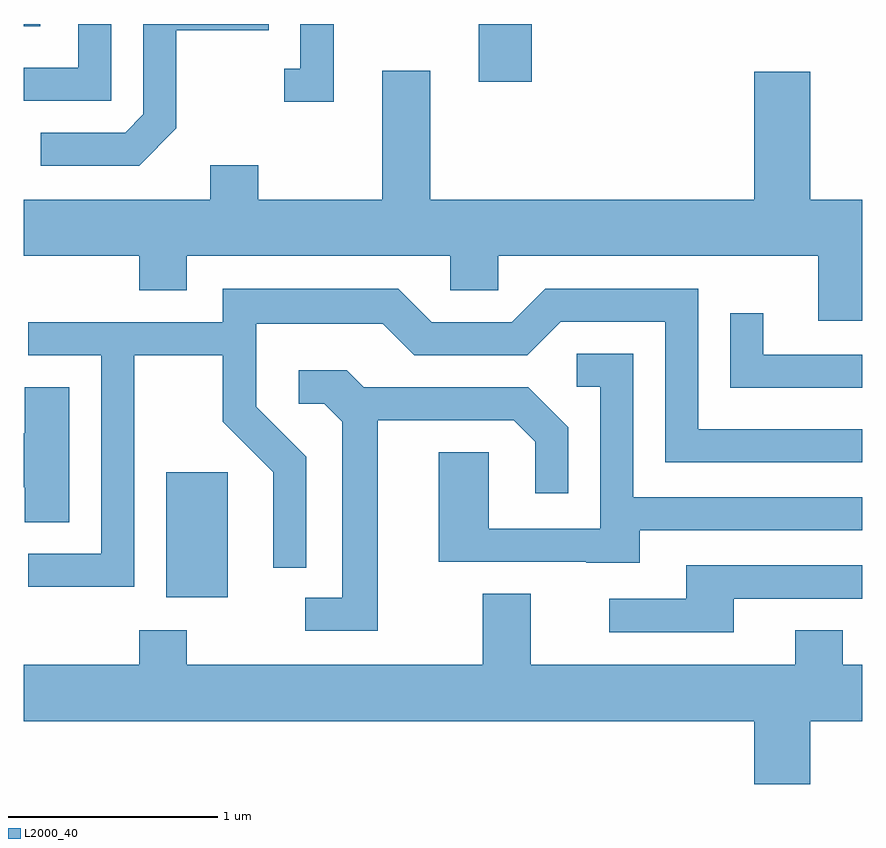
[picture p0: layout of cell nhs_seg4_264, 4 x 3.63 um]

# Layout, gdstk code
import gdstk
lib = gdstk.Library(unit=1e-6, precision=1e-09)
def R(c, l, rs):  # rectangles x0, y0, x1, y1
    for r in rs: c.add(gdstk.rectangle(r[:2], r[2:], *l))
def P(c, l, *ps):  # polygons
    for p in ps: c.add(gdstk.Polygon(p, *l))
L2000_40 = (2000, 40)

nhs_seg4_264 = lib.new_cell('nhs_seg4_264')
R(nhs_seg4_264, L2000_40, [(192.291,1375.246,192.584,1375.844), (193.781,1377.706,194.034,1377.982), (191.611,1377.971,191.689,1377.982)])
P(nhs_seg4_264, L2000_40, [(192.339,1377.484),(192.339,1377.951),(192.779,1377.951),(192.779,1377.982),(192.181,1377.982),(192.181,1377.552),(192.094,1377.464),(191.693,1377.464),(191.693,1377.306),(192.162,1377.306)],
  [(192.029,1377.982),(191.871,1377.982),(191.871,1377.774),(191.611,1377.774),(191.611,1377.616),(192.029,1377.616)],
  [(193.089,1377.982),(192.931,1377.982),(192.931,1377.769),(192.853,1377.769),(192.853,1377.611),(193.089,1377.611)],
  [(195.611,1377.144),(195.364,1377.144),(195.364,1377.754),(195.096,1377.754),(195.096,1377.144),(193.549,1377.144),(193.549,1377.759),(193.321,1377.759),(193.321,1377.144),(192.729,1377.144),(192.729,1377.309),(192.501,1377.309),(192.501,1377.144),(191.611,1377.144),(191.611,1376.876),(192.161,1376.876),(192.161,1376.711),(192.389,1376.711),(192.389,1376.876),(193.646,1376.876),(193.646,1376.711),(193.874,1376.711),(193.874,1376.876),(195.401,1376.876),(195.401,1376.566),(195.611,1376.566)],
  [(192.139,1376.401),(192.561,1376.401),(192.561,1376.084),(192.801,1375.844),(192.801,1375.388),(192.959,1375.388),(192.959,1375.917),(192.719,1376.157),(192.719,1376.551),(193.324,1376.551),(193.474,1376.401),(194.012,1376.401),(194.172,1376.561),(194.671,1376.561),(194.671,1375.891),(195.611,1375.891),(195.611,1376.049),(194.829,1376.049),(194.829,1376.719),(194.099,1376.719),(193.939,1376.559),(193.557,1376.559),(193.397,1376.719),(192.561,1376.719),(192.561,1376.559),(191.633,1376.559),(191.633,1376.401),(191.981,1376.401),(191.981,1375.454),(191.633,1375.454),(191.633,1375.296),(192.139,1375.296)],
  [(195.611,1376.404),(195.139,1376.404),(195.139,1376.603),(194.981,1376.603),(194.981,1376.246),(195.611,1376.246)],
  [(194.549,1375.566),(195.611,1375.566),(195.611,1375.724),(194.519,1375.724),(194.519,1376.409),(194.248,1376.409),(194.248,1376.251),(194.361,1376.251),(194.361,1375.574),(193.829,1375.574),(193.829,1375.939),(193.591,1375.939),(193.591,1375.416),(194.295,1375.416),(194.295,1375.411),(194.549,1375.411)],
  [(193.299,1376.091),(193.949,1376.091),(194.051,1375.989),(194.051,1375.743),(194.209,1375.743),(194.209,1376.057),(194.017,1376.249),(193.232,1376.249),(193.152,1376.329),(192.923,1376.329),(192.923,1376.171),(193.044,1376.171),(193.131,1376.084),(193.131,1375.244),(192.953,1375.244),(192.953,1375.086),(193.299,1375.086)],
  [(191.829,1376.249),(191.616,1376.249),(191.616,1376.029),(191.611,1376.029),(191.611,1375.771),(191.616,1375.771),(191.616,1375.606),(191.829,1375.606)],
  [(194.999,1375.241),(195.611,1375.241),(195.611,1375.399),(194.771,1375.399),(194.771,1375.239),(194.403,1375.239),(194.403,1375.081),(194.999,1375.081)],
  [(195.364,1374.656),(195.611,1374.656),(195.611,1374.924),(195.519,1374.924),(195.519,1375.089),(195.291,1375.089),(195.291,1374.924),(194.029,1374.924),(194.029,1375.264),(193.801,1375.264),(193.801,1374.924),(192.389,1374.924),(192.389,1375.089),(192.161,1375.089),(192.161,1374.924),(191.611,1374.924),(191.611,1374.656),(195.096,1374.656),(195.096,1374.356),(195.364,1374.356)])

lib.write_gds('nhs_seg4_264.gds')
